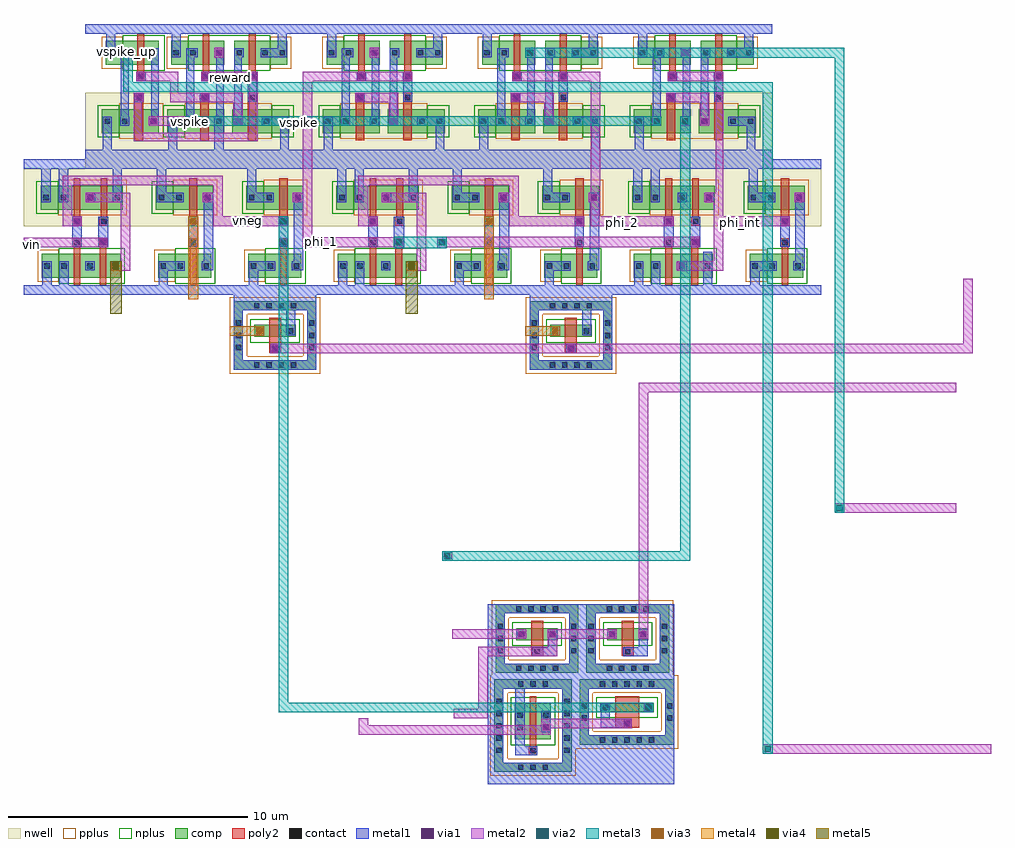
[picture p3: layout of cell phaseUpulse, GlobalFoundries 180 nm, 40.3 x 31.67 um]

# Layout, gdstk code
from math import pi, radians
import gdstk
lib = gdstk.Library(unit=1e-6, precision=1e-09)
def R(c, l, rs):  # rectangles x0, y0, x1, y1
    for r in rs: c.add(gdstk.rectangle(r[:2], r[2:], *l))
def A(c, l, x, y, w, h, nx, ny, dx, dy):  # array of equal rectangles
    R(c, l, [(x+i*dx, y+j*dy, x+i*dx+w, y+j*dy+h) for i in range(nx) for j in range(ny)])
def P(c, l, *ps):  # polygons
    for p in ps: c.add(gdstk.Polygon(p, *l))
nwell = (21, 0)
comp = (22, 0)
poly2 = (30, 0)
pplus = (31, 0)
nplus = (32, 0)
contact = (33, 0)
metal1 = (34, 0)
via1 = (35, 0)
metal2 = (36, 0)
via2 = (38, 0)
via3 = (40, 0)
via4 = (41, 0)
metal3 = (42, 0)
metal4 = (46, 0)
metal5 = (81, 0)

pfet_4_2 = lib.new_cell('pfet$4$2')

pfet_1_1_1 = lib.new_cell('pfet$1$1$1')

via_dev_3_1_1 = lib.new_cell('via_dev$3$1$1')

via_dev_1_1_1 = lib.new_cell('via_dev$1$1$1')

pfet_2_1 = lib.new_cell('pfet$2$1')

nfet_4_1_1 = lib.new_cell('nfet$4$1$1')

nfet_1_2 = lib.new_cell('nfet$1$2')

nor = lib.new_cell('nor')
nor.add(gdstk.Reference(pfet_4_2, (5.155,-2.67)))
nor.add(gdstk.Reference(pfet_1_1_1, (-0.175,-0.79)))
nor.add(gdstk.Reference(via_dev_3_1_1, (-0.94,-1.74)))
nor.add(gdstk.Reference(via_dev_1_1_1, (1.075,-1.48)))
nor.add(gdstk.Reference(pfet_2_1, (0.945,-0.79)))
nor.add(gdstk.Reference(via_dev_1_1_1, (-0.605,-0.49)))
nor.add(gdstk.Reference(nfet_4_1_1, (0.945,-3.25)))
nor.add(gdstk.Reference(via_dev_1_1_1, (-0.005,-1.97)))
nor.add(gdstk.Reference(nfet_1_2, (-0.135,-3.25)))
nor.add(gdstk.Reference(via_dev_1_1_1, (0.535,-2.95)))

nfet_3_1_1 = lib.new_cell('nfet$3$1$1')

pfet_1_2 = lib.new_cell('pfet$1$2')

via_dev_2_2 = lib.new_cell('via_dev$2$2')

nfet_1_1_1 = lib.new_cell('nfet$1$1$1')

nfet_5_1_2 = lib.new_cell('nfet$5$1$2')

ota_1stage = lib.new_cell('ota_1stage')
ota_1stage.add(gdstk.Reference(nfet_3_1_1, (-8.74,-4.02), rotation=pi/2))
ota_1stage.add(gdstk.Reference(pfet_1_2, (-2.26,3.785)))
ota_1stage.add(gdstk.Reference(pfet_1_2, (1.48,3.785)))
ota_1stage.add(gdstk.Reference(via_dev_2_2, (1.05,4.005)))
ota_1stage.add(gdstk.Reference(via_dev_2_2, (-1.57,4.005)))
ota_1stage.add(gdstk.Reference(via_dev_2_2, (-2.13,4.915)))
ota_1stage.add(gdstk.Reference(via_dev_2_2, (1.61,4.915)))
ota_1stage.add(gdstk.Reference(via_dev_2_2, (0.58,0.73)))
ota_1stage.add(gdstk.Reference(via_dev_2_2, (-1.9,0.725)))
ota_1stage.add(gdstk.Reference(nfet_1_1_1, (-2.57,-1.885)))
ota_1stage.add(gdstk.Reference(nfet_1_1_1, (0.99,-1.885)))
ota_1stage.add(gdstk.Reference(via_dev_2_2, (-2.98,-0.29)))
ota_1stage.add(gdstk.Reference(via_dev_2_2, (1.66,-0.29)))
ota_1stage.add(gdstk.Reference(via_dev_2_2, (-2.44,-2.565)))
ota_1stage.add(gdstk.Reference(via_dev_2_2, (1.12,-2.565)))
ota_1stage.add(gdstk.Reference(nfet_5_1_2, (-6.13,1.64)))
ota_1stage.add(gdstk.Reference(via_dev_2_2, (-5.46,1.86)))
ota_1stage.add(gdstk.Reference(via_dev_2_2, (-6,0.96)))
ota_1stage.add(gdstk.Reference(nfet_5_1_2, (-6.13,-1.885)))
ota_1stage.add(gdstk.Reference(via_dev_2_2, (-8.72,4.91), rotation=pi/2))
ota_1stage.add(gdstk.Reference(via_dev_2_2, (-9.12,6.435)))
ota_1stage.add(gdstk.Reference(via_dev_2_2, (-8.72,-4.43), rotation=pi/2))
ota_1stage.add(gdstk.Reference(via_dev_2_2, (-6.54,-1.67)))

pfet_5_2 = lib.new_cell('pfet$5$2')

nfet_6_1_1 = lib.new_cell('nfet$6$1$1')

via_dev_4_2 = lib.new_cell('via_dev$4$2')

via_dev_1_2 = lib.new_cell('via_dev$1$2')

conmutator = lib.new_cell('conmutator')
conmutator.add(gdstk.Reference(pfet_5_2, (-0.175,-0.79)))
conmutator.add(gdstk.Reference(nfet_6_1_1, (-0.14,-3.64)))
conmutator.add(gdstk.Reference(via_dev_4_2, (-0.01,-2.36)))
conmutator.add(gdstk.Reference(via_dev_4_2, (-0.605,-0.49)))
conmutator.add(gdstk.Reference(via_dev_4_2, (-2,-1.48)))
conmutator.add(gdstk.Reference(via_dev_4_2, (-1.93,-2.36)))
conmutator.add(gdstk.Reference(via_dev_4_2, (-1.39,-3.34)))
conmutator.add(gdstk.Reference(via_dev_4_2, (-2.595,-0.49)))
conmutator.add(gdstk.Reference(nfet_6_1_1, (-1.4,-3.64), rotation=pi, x_reflection=True))
conmutator.add(gdstk.Reference(via_dev_1_2, (-3.655,-1.74)))
conmutator.add(gdstk.Reference(via_dev_1_2, (-0.94,-1.74)))
conmutator.add(gdstk.Reference(pfet_5_2, (-1.435,-0.79), rotation=pi, x_reflection=True))
conmutator.add(gdstk.Reference(via_dev_4_2, (-4.72,-1.48)))
conmutator.add(gdstk.Reference(via_dev_4_2, (-4.65,-2.36)))
conmutator.add(gdstk.Reference(via_dev_4_2, (-4.125,-0.49)))
conmutator.add(gdstk.Reference(via_dev_4_2, (-5.19,-3.34)))
conmutator.add(gdstk.Reference(nfet_6_1_1, (-4.12,-3.64), rotation=pi, x_reflection=True))
conmutator.add(gdstk.Reference(via_dev_1_2, (-6.375,-1.74)))
conmutator.add(gdstk.Reference(via_dev_1_2, (-3.66,-1.74)))
conmutator.add(gdstk.Reference(pfet_5_2, (-4.155,-0.79), rotation=pi, x_reflection=True))

via_dev_1_3 = lib.new_cell('via_dev$1$3')

nfet_7_1 = lib.new_cell('nfet$7$1')

pfet_6_2 = lib.new_cell('pfet$6$2')

via_dev_5_1_1 = lib.new_cell('via_dev$5$1$1')

switch = lib.new_cell('switch')
switch.add(gdstk.Reference(via_dev_1_3, (-2,-1.48)))
switch.add(gdstk.Reference(via_dev_1_3, (-0.605,-0.49)))
switch.add(gdstk.Reference(via_dev_1_3, (-1.93,-2.36)))
switch.add(gdstk.Reference(via_dev_1_3, (-0.01,-2.36)))
switch.add(gdstk.Reference(via_dev_1_3, (-1.39,-3.34)))
switch.add(gdstk.Reference(via_dev_1_3, (-2.595,-0.49)))
switch.add(gdstk.Reference(nfet_7_1, (-1.4,-3.64), rotation=pi, x_reflection=True))
switch.add(gdstk.Reference(pfet_6_2, (-1.435,-0.79), rotation=pi, x_reflection=True))
switch.add(gdstk.Reference(via_dev_5_1_1, (-3.655,-1.74)))
switch.add(gdstk.Reference(via_dev_5_1_1, (-0.94,-1.74)))
switch.add(gdstk.Reference(nfet_7_1, (-0.14,-3.64)))
switch.add(gdstk.Reference(pfet_6_2, (-0.175,-0.79)))

via_dev_9_1 = lib.new_cell('via_dev$9$1')

pfet_7_2 = lib.new_cell('pfet$7$2')
R(pfet_7_2, nwell, [(-1.15,-0.69,2.61,1.69)])
R(pfet_7_2, comp, [(-0.46,0,0,1), (0,0,0.73,1), (0.73,0,1.19,1), (1.19,0,1.92,1)])
R(pfet_7_2, poly2, [(0.175,-0.68,0.555,-0.3), (0.19,-0.3,0.54,1.3)])
R(pfet_7_2, pplus, [(-0.63,-0.24,1.19,1.24)])
R(pfet_7_2, nplus, [(1.19,-0.17,2.09,1.17)])
R(pfet_7_2, contact, [(0.255,-0.6,0.475,-0.38), (-0.34,0.39,-0.12,0.61), (0.85,0.39,1.07,0.61), (1.58,0.39,1.8,0.61)])
R(pfet_7_2, metal1, [(0.175,-0.68,0.555,-0.3), (-0.42,0.31,-0.04,0.69), (0.77,0.31,1.15,0.69), (1.5,0.31,1.88,0.69)])

nfet_8_1 = lib.new_cell('nfet$8$1')
R(nfet_8_1, comp, [(-0.42,0,0,1), (0,0,0.66,1), (0.66,0,1.08,1), (1.08,0,1.79,1)])
R(nfet_8_1, poly2, [(0.19,-0.3,0.47,1.3), (0.15,1.3,0.51,1.66)])
R(nfet_8_1, pplus, [(1.08,-0.17,1.96,1.17)])
R(nfet_8_1, nplus, [(-0.59,-0.24,1.08,1.24)])
R(nfet_8_1, contact, [(-0.32,0.39,-0.1,0.61), (0.76,0.39,0.98,0.61), (1.47,0.39,1.69,0.61), (0.22,1.37,0.44,1.59)])
R(nfet_8_1, metal1, [(-0.4,0.31,-0.02,0.69), (0.68,0.31,1.06,0.69), (1.39,0.31,1.77,0.69), (0.14,1.29,0.52,1.67)])

via_dev_19_1 = lib.new_cell('via_dev$19$1')

via_dev_1_4 = lib.new_cell('via_dev$1$4')
R(via_dev_1_4, metal1, [(0,0,0.4,0.4)])
R(via_dev_1_4, via1, [(0.07,0.07,0.33,0.33)])
R(via_dev_1_4, metal2, [(0,0,0.4,0.4)])

not_ = lib.new_cell('not')
R(not_, metal1, [(-0.64,-3.33,-0.24,-0.1), (0,-1.97,0.38,-1.47)])
P(not_, metal1, [(0.595,-0.49),(0.595,-0.09),(1.325,-0.09),(1.325,0.9),(-1.325,0.9),(-1.325,1.3),(2.435,1.3),(2.435,0.9),(1.705,0.9),(1.705,-0.49)],
  [(-1.325,-4.34),(-1.325,-3.94),(1.25,-3.94),(1.25,-3.34),(0.54,-3.34),(0.54,-2.94),(1.63,-2.94),(1.63,-3.94),(2.435,-3.94),(2.435,-4.34)])
not_.add(gdstk.Reference(pfet_7_2, (-0.175,-0.79)))
not_.add(gdstk.Reference(nfet_8_1, (-0.14,-3.64)))
not_.add(gdstk.Reference(via_dev_19_1, (-0.94,-1.74)))
not_.add(gdstk.Reference(via_dev_1_4, (-0.605,-0.49)))
not_.add(gdstk.Reference(via_dev_1_4, (-0.01,-1.48)))
not_.add(gdstk.Label('out', (0.2,-2.205), layer=34, texttype=10))
not_.add(gdstk.Label('vss', (0.305,-4.175), layer=34, texttype=10))
not_.add(gdstk.Label('vdd', (0.18,1.1), layer=34, texttype=10))
not_.add(gdstk.Label('in', (0.18,-1.285), layer=36, texttype=10))
not_.add(gdstk.Label('out', (-0.4,-0.3), layer=36, texttype=10))

pfet_12_1 = lib.new_cell('pfet$12$1')

pfet_1_8 = lib.new_cell('pfet$1$8')
R(pfet_1_8, nwell, [(-0.9,-0.44,1.56,1.44)])
R(pfet_1_8, comp, [(-0.46,0,0,1), (0,0,0.66,1), (0.66,0,1.12,1)])
R(pfet_1_8, poly2, [(0.14,-0.68,0.52,-0.3), (0.19,-0.3,0.47,1.3)])
R(pfet_1_8, pplus, [(-0.63,-0.24,1.29,1.24)])
R(pfet_1_8, contact, [(0.22,-0.6,0.44,-0.38), (-0.34,0.39,-0.12,0.61), (0.78,0.39,1,0.61)])
R(pfet_1_8, metal1, [(0.14,-0.68,0.52,-0.3), (-0.42,0.31,-0.04,0.69), (0.7,0.31,1.08,0.69)])

via_dev_17_1 = lib.new_cell('via_dev$17$1')

via_dev_1_5 = lib.new_cell('via_dev$1$5')
R(via_dev_1_5, metal1, [(0,0,0.4,0.4)])
R(via_dev_1_5, via1, [(0.07,0.07,0.33,0.33)])
R(via_dev_1_5, metal2, [(0,0,0.4,0.4)])

pfet_2_7 = lib.new_cell('pfet$2$7')
R(pfet_2_7, nwell, [(-1.15,-0.69,2.54,1.69)])
R(pfet_2_7, comp, [(-0.46,0,0,1), (0,0,0.66,1), (0.66,0,1.12,1), (1.12,0,1.85,1)])
R(pfet_2_7, poly2, [(0.14,-0.68,0.52,-0.3), (0.19,-0.3,0.47,1.3)])
R(pfet_2_7, pplus, [(-0.63,-0.24,1.12,1.24)])
R(pfet_2_7, nplus, [(1.12,-0.17,2.02,1.17)])
R(pfet_2_7, contact, [(0.22,-0.6,0.44,-0.38), (-0.34,0.39,-0.12,0.61), (0.78,0.39,1,0.61), (1.51,0.39,1.73,0.61)])
R(pfet_2_7, metal1, [(0.14,-0.68,0.52,-0.3), (-0.42,0.31,-0.04,0.69), (0.7,0.31,1.08,0.69), (1.43,0.31,1.81,0.69)])

nfet_10_1 = lib.new_cell('nfet$10$1')
R(nfet_10_1, comp, [(-0.42,0,0,1), (0,0,0.66,1), (0.66,0,1.08,1), (1.08,0,1.79,1)])
R(nfet_10_1, poly2, [(0.19,-0.3,0.47,1.3), (0.15,1.3,0.51,1.66)])
R(nfet_10_1, pplus, [(1.08,-0.17,1.96,1.17)])
R(nfet_10_1, nplus, [(-0.59,-0.24,1.08,1.24)])
R(nfet_10_1, contact, [(-0.32,0.39,-0.1,0.61), (0.76,0.39,0.98,0.61), (1.47,0.39,1.69,0.61), (0.22,1.37,0.44,1.59)])
R(nfet_10_1, metal1, [(-0.4,0.31,-0.02,0.69), (0.68,0.31,1.06,0.69), (1.39,0.31,1.77,0.69), (0.14,1.29,0.52,1.67)])

nfet_1_3 = lib.new_cell('nfet$1$3')
R(nfet_1_3, comp, [(-0.42,0,0,1), (0,0,0.66,1), (0.66,0,1.08,1)])
R(nfet_1_3, poly2, [(0.19,-0.3,0.47,1.3), (0.15,1.3,0.51,1.66)])
R(nfet_1_3, nplus, [(-0.59,-0.24,1.25,1.24)])
R(nfet_1_3, contact, [(-0.32,0.39,-0.1,0.61), (0.76,0.39,0.98,0.61), (0.22,1.37,0.44,1.59)])
R(nfet_1_3, metal1, [(-0.4,0.31,-0.02,0.69), (0.68,0.31,1.06,0.69), (0.14,1.29,0.52,1.67)])

nor_2 = lib.new_cell('nor$2')
R(nor_2, nwell, [(-1.325,-1.48,-0.205,0.9)])
R(nor_2, metal1, [(-1.325,-4.34,3.485,-3.94), (-0.535,-3.94,-0.155,-2.56), (1.625,-3.94,2.005,-2.95), (2.335,-3.94,2.715,-2.95), (-0.035,-2.36,0.395,-1.09), (1.075,-2.35,1.475,-1.08), (1.645,-0.475,2.025,0.9), (2.375,-0.475,2.755,0.9), (-1.325,0.9,3.485,1.3)])
R(nor_2, metal2, [(-1.005,-3.34,0.535,-2.94)])
nor_2.add(gdstk.FlexPath([(-0.805,-3.115),(-0.805,-0.09)], 0.4, ends="flush", simple_path=True, layer=36, datatype=0))  # metal2
nor_2.add(gdstk.Reference(pfet_12_1, (5.155,-2.67)))
nor_2.add(gdstk.Reference(pfet_1_8, (-0.175,-0.79)))
nor_2.add(gdstk.Reference(via_dev_17_1, (-0.94,-1.74)))
nor_2.add(gdstk.Reference(via_dev_1_5, (1.075,-1.48)))
nor_2.add(gdstk.Reference(pfet_2_7, (0.945,-0.79)))
nor_2.add(gdstk.Reference(via_dev_1_5, (-0.605,-0.49)))
nor_2.add(gdstk.Reference(nfet_10_1, (0.945,-3.64)))
nor_2.add(gdstk.Reference(via_dev_1_5, (-0.005,-2.36)))
nor_2.add(gdstk.Reference(nfet_1_3, (-0.135,-3.64)))
nor_2.add(gdstk.Reference(via_dev_1_5, (0.535,-3.34)))
nor_2.add(gdstk.Label('vss', (1.02,-4.185), layer=34, texttype=10))
nor_2.add(gdstk.Label('vdd', (0.94,1.07), layer=34, texttype=10))
nor_2.add(gdstk.Label('A', (1.3,-1.3), layer=36, texttype=10))
nor_2.add(gdstk.Label('B', (0.2,-1.775), layer=36, texttype=10))
nor_2.add(gdstk.Label('Z', (-0.405,-0.265), layer=36, texttype=10))

via_dev_14 = lib.new_cell('via_dev$14')
R(via_dev_14, metal1, [(0,0,0.4,0.4)])
R(via_dev_14, via1, [(0.07,0.07,0.33,0.33)])
R(via_dev_14, metal2, [(0,0,0.4,0.4)])

via_dev_12_1 = lib.new_cell('via_dev$12$1')
R(via_dev_12_1, metal1, [(0,0,0.4,0.4)])
R(via_dev_12_1, via1, [(0.07,0.07,0.33,0.33)])
R(via_dev_12_1, metal2, [(0,0,0.4,0.4)])
R(via_dev_12_1, via2, [(0.07,0.07,0.33,0.33)])
R(via_dev_12_1, via3, [(0.07,0.07,0.33,0.33)])
R(via_dev_12_1, metal3, [(0,0,0.4,0.4)])
R(via_dev_12_1, metal4, [(0,0,0.4,0.4)])

via_dev_13_1 = lib.new_cell('via_dev$13$1')
R(via_dev_13_1, metal2, [(0,0,0.4,0.4)])
R(via_dev_13_1, via2, [(0.07,0.07,0.33,0.33)])
R(via_dev_13_1, via3, [(0.07,0.07,0.33,0.33)])
R(via_dev_13_1, metal3, [(0,0,0.4,0.4)])
R(via_dev_13_1, metal4, [(0,0,0.4,0.4)])

via_dev_11_1 = lib.new_cell('via_dev$11$1')
R(via_dev_11_1, metal2, [(0,0,0.4,0.4)])
R(via_dev_11_1, via2, [(0.07,0.07,0.33,0.33)])
R(via_dev_11_1, via3, [(0.07,0.07,0.33,0.33)])
R(via_dev_11_1, via4, [(0.07,0.07,0.33,0.33)])
R(via_dev_11_1, metal3, [(0,0,0.4,0.4)])
R(via_dev_11_1, metal4, [(0,0,0.4,0.4)])
R(via_dev_11_1, metal5, [(0,0,0.4,0.4)])

nfet_8_1_1 = lib.new_cell('nfet$8$1$1')
R(nfet_8_1_1, comp, [(-0.42,0,0,0.5), (0,0,0.88,0.5), (0.88,0,1.3,0.5)])
P(nfet_8_1_1, comp, [(-1.28,-1.36),(-1.28,1.11),(-0.9,1.11),(-0.9,-0.98),(1.78,-0.98),(1.78,1.11),(-1.28,1.11),(-1.28,1.49),(2.16,1.49),(2.16,-1.36)])
R(nfet_8_1_1, poly2, [(0.19,-0.66,0.69,-0.3), (0.19,-0.3,0.69,0.8)])
P(nfet_8_1_1, pplus, [(-1.45,-1.53),(-1.45,0.94),(-0.73,0.94),(-0.73,-0.81),(1.61,-0.81),(1.61,0.94),(-1.45,0.94),(-1.45,1.66),(2.33,1.66),(2.33,-1.53)])
R(nfet_8_1_1, nplus, [(-0.59,-0.24,1.47,0.74)])
A(nfet_8_1_1, contact, -0.435, -1.28, 0.22, 0.22, 4, 2, 0.51, 2.47)
A(nfet_8_1_1, contact, -1.2, -0.555, 0.22, 0.22, 1, 3, 0, 0.51)
A(nfet_8_1_1, contact, 1.86, -0.555, 0.22, 0.22, 1, 3, 0, 0.51)
R(nfet_8_1_1, contact, [(0.33,-0.59,0.55,-0.37), (-0.32,0.14,-0.1,0.36), (0.98,0.14,1.2,0.36)])
R(nfet_8_1_1, metal1, [(0.25,-0.67,0.63,-0.29), (-0.4,0.06,-0.02,0.44), (0.9,0.06,1.28,0.44)])

pfet_2_6 = lib.new_cell('pfet$2$6')

pfet_11_1 = lib.new_cell('pfet$11$1')
R(pfet_11_1, nwell, [(-0.9,-0.44,1.56,1.44)])
R(pfet_11_1, comp, [(-0.46,0,0,1), (0,0,0.66,1), (0.66,0,1.12,1)])
R(pfet_11_1, poly2, [(0.14,-0.68,0.52,-0.3), (0.19,-0.3,0.47,1.3)])
R(pfet_11_1, pplus, [(-0.63,-0.24,1.29,1.24)])
R(pfet_11_1, contact, [(0.22,-0.6,0.44,-0.38), (-0.34,0.39,-0.12,0.61), (0.78,0.39,1,0.61)])
R(pfet_11_1, metal1, [(0.14,-0.68,0.52,-0.3), (-0.42,0.31,-0.04,0.69), (0.7,0.31,1.08,0.69)])

via_dev_16 = lib.new_cell('via_dev$16')

pfet_1_7 = lib.new_cell('pfet$1$7')
R(pfet_1_7, nwell, [(-1.15,-0.69,2.54,1.69)])
R(pfet_1_7, comp, [(-0.46,0,0,1), (0,0,0.66,1), (0.66,0,1.12,1), (1.12,0,1.85,1)])
R(pfet_1_7, poly2, [(0.14,-0.68,0.52,-0.3), (0.19,-0.3,0.47,1.3)])
R(pfet_1_7, pplus, [(-0.63,-0.24,1.12,1.24)])
R(pfet_1_7, nplus, [(1.12,-0.17,2.02,1.17)])
R(pfet_1_7, contact, [(0.22,-0.6,0.44,-0.38), (-0.34,0.39,-0.12,0.61), (0.78,0.39,1,0.61), (1.51,0.39,1.73,0.61)])
R(pfet_1_7, metal1, [(0.14,-0.68,0.52,-0.3), (-0.42,0.31,-0.04,0.69), (0.7,0.31,1.08,0.69), (1.43,0.31,1.81,0.69)])

via_dev_2_6 = lib.new_cell('via_dev$2$6')
R(via_dev_2_6, metal1, [(0,0,0.4,0.4)])
R(via_dev_2_6, via1, [(0.07,0.07,0.33,0.33)])
R(via_dev_2_6, metal2, [(0,0,0.4,0.4)])

nfet_2_4 = lib.new_cell('nfet$2$4')
R(nfet_2_4, comp, [(-0.42,0,0,1), (0,0,0.66,1), (0.66,0,1.08,1), (1.08,0,1.79,1)])
R(nfet_2_4, poly2, [(0.19,-0.3,0.47,1.3), (0.15,1.3,0.51,1.66)])
R(nfet_2_4, pplus, [(1.08,-0.17,1.96,1.17)])
R(nfet_2_4, nplus, [(-0.59,-0.24,1.08,1.24)])
R(nfet_2_4, contact, [(-0.32,0.39,-0.1,0.61), (0.76,0.39,0.98,0.61), (1.47,0.39,1.69,0.61), (0.22,1.37,0.44,1.59)])
R(nfet_2_4, metal1, [(-0.4,0.31,-0.02,0.69), (0.68,0.31,1.06,0.69), (1.39,0.31,1.77,0.69), (0.14,1.29,0.52,1.67)])

nfet_3_5 = lib.new_cell('nfet$3$5')
R(nfet_3_5, comp, [(-0.42,0,0,1), (0,0,0.66,1), (0.66,0,1.08,1)])
R(nfet_3_5, poly2, [(0.19,-0.3,0.47,1.3), (0.15,1.3,0.51,1.66)])
R(nfet_3_5, nplus, [(-0.59,-0.24,1.25,1.24)])
R(nfet_3_5, contact, [(-0.32,0.39,-0.1,0.61), (0.76,0.39,0.98,0.61), (0.22,1.37,0.44,1.59)])
R(nfet_3_5, metal1, [(-0.4,0.31,-0.02,0.69), (0.68,0.31,1.06,0.69), (0.14,1.29,0.52,1.67)])

nand_4 = lib.new_cell('nand$4')
R(nand_4, nwell, [(-1.325,-1.48,-0.205,0.9)])
R(nand_4, metal1, [(-1.325,-4.34,3.485,-3.94), (1.625,-3.94,2.005,-2.95), (2.335,-3.94,2.715,-2.95), (-0.035,-2.36,0.395,-1.09), (1.075,-2.35,1.475,-1.08), (-0.595,-0.475,-0.215,0.9), (1.645,-0.475,2.025,0.9), (2.375,-0.475,2.755,0.9), (-1.325,0.9,3.485,1.3)])
nand_4.add(gdstk.FlexPath([(-0.745,-3.34),(-0.745,-0.29),(0.535,-0.29)], 0.4, ends="flush", simple_path=True, layer=36, datatype=0))  # metal2
nand_4.add(gdstk.Reference(pfet_2_6, (5.155,-2.67)))
nand_4.add(gdstk.Reference(pfet_11_1, (-0.175,-0.79)))
nand_4.add(gdstk.Reference(via_dev_16, (-0.94,-1.74)))
nand_4.add(gdstk.Reference(pfet_1_7, (0.945,-0.79)))
nand_4.add(gdstk.Reference(via_dev_2_6, (0.515,-0.49)))
nand_4.add(gdstk.Reference(via_dev_2_6, (-0.545,-3.34)))
nand_4.add(gdstk.Reference(nfet_2_4, (0.945,-3.64)))
nand_4.add(gdstk.Reference(via_dev_2_6, (-0.005,-2.36)))
nand_4.add(gdstk.Reference(nfet_3_5, (-0.135,-3.64)))
nand_4.add(gdstk.Reference(via_dev_2_6, (1.075,-1.48)))
nand_4.add(gdstk.Label('vss', (1.02,-4.185), layer=34, texttype=10))
nand_4.add(gdstk.Label('vdd', (0.94,1.07), layer=34, texttype=10))
nand_4.add(gdstk.Label('Z', (-0.335,-3.16), layer=36, texttype=10))
nand_4.add(gdstk.Label('A', (0.2,-2.19), layer=36, texttype=10))
nand_4.add(gdstk.Label('B', (1.3,-1.3), layer=36, texttype=10))

via_dev_19_1_1 = lib.new_cell('via_dev$19$1$1')
R(via_dev_19_1_1, metal1, [(0,0,0.4,0.48)])
R(via_dev_19_1_1, via1, [(0.07,0.11,0.33,0.37)])
R(via_dev_19_1_1, metal2, [(0,0,0.4,0.48)])
R(via_dev_19_1_1, via2, [(0.07,0.11,0.33,0.37)])
R(via_dev_19_1_1, metal3, [(0,0,0.4,0.48)])

pfet_13_1 = lib.new_cell('pfet$13$1')
R(pfet_13_1, nwell, [(-1.15,-0.69,2.61,1.69)])
R(pfet_13_1, comp, [(-0.46,0,0,1), (0,0,0.73,1), (0.73,0,1.19,1), (1.19,0,1.92,1)])
R(pfet_13_1, poly2, [(0.175,-0.68,0.555,-0.3), (0.19,-0.3,0.54,1.3)])
R(pfet_13_1, pplus, [(-0.63,-0.24,1.19,1.24)])
R(pfet_13_1, nplus, [(1.19,-0.17,2.09,1.17)])
R(pfet_13_1, contact, [(0.255,-0.6,0.475,-0.38), (-0.34,0.39,-0.12,0.61), (0.85,0.39,1.07,0.61), (1.58,0.39,1.8,0.61)])
R(pfet_13_1, metal1, [(0.175,-0.68,0.555,-0.3), (-0.42,0.31,-0.04,0.69), (0.77,0.31,1.15,0.69), (1.5,0.31,1.88,0.69)])

nfet_11_1 = lib.new_cell('nfet$11$1')
R(nfet_11_1, comp, [(-0.42,0,0,1), (0,0,0.66,1), (0.66,0,1.08,1), (1.08,0,1.79,1)])
R(nfet_11_1, poly2, [(0.19,-0.3,0.47,1.3), (0.15,1.3,0.51,1.66)])
R(nfet_11_1, pplus, [(1.08,-0.17,1.96,1.17)])
R(nfet_11_1, nplus, [(-0.59,-0.24,1.08,1.24)])
R(nfet_11_1, contact, [(-0.32,0.39,-0.1,0.61), (0.76,0.39,0.98,0.61), (1.47,0.39,1.69,0.61), (0.22,1.37,0.44,1.59)])
R(nfet_11_1, metal1, [(-0.4,0.31,-0.02,0.69), (0.68,0.31,1.06,0.69), (1.39,0.31,1.77,0.69), (0.14,1.29,0.52,1.67)])

via_dev_18_1 = lib.new_cell('via_dev$18$1')

via_dev_1_6 = lib.new_cell('via_dev$1$6')
R(via_dev_1_6, metal1, [(0,0,0.4,0.4)])
R(via_dev_1_6, via1, [(0.07,0.07,0.33,0.33)])
R(via_dev_1_6, metal2, [(0,0,0.4,0.4)])

not_1 = lib.new_cell('not$1')
R(not_1, metal1, [(-0.64,-3.33,-0.24,-0.1), (0,-1.97,0.38,-1.47)])
P(not_1, metal1, [(0.595,-0.49),(0.595,-0.09),(1.325,-0.09),(1.325,0.9),(-1.325,0.9),(-1.325,1.3),(2.435,1.3),(2.435,0.9),(1.705,0.9),(1.705,-0.49)],
  [(-1.325,-4.34),(-1.325,-3.94),(1.25,-3.94),(1.25,-3.34),(0.54,-3.34),(0.54,-2.94),(1.63,-2.94),(1.63,-3.94),(2.435,-3.94),(2.435,-4.34)])
not_1.add(gdstk.Reference(pfet_13_1, (-0.175,-0.79)))
not_1.add(gdstk.Reference(nfet_11_1, (-0.14,-3.64)))
not_1.add(gdstk.Reference(via_dev_18_1, (-0.94,-1.74)))
not_1.add(gdstk.Reference(via_dev_1_6, (-0.605,-0.49)))
not_1.add(gdstk.Reference(via_dev_1_6, (-0.01,-1.48)))
not_1.add(gdstk.Label('vss', (0.305,-4.175), layer=34, texttype=10))
not_1.add(gdstk.Label('vdd', (0.18,1.1), layer=34, texttype=10))
not_1.add(gdstk.Label('in', (0.18,-1.285), layer=36, texttype=10))
not_1.add(gdstk.Label('out', (-0.4,-0.3), layer=36, texttype=10))

pfet_14 = lib.new_cell('pfet$14')
R(pfet_14, nwell, [(-1.15,-0.69,2.61,1.69)])
R(pfet_14, comp, [(-0.46,0,0,1), (0,0,0.73,1), (0.73,0,1.19,1), (1.19,0,1.92,1)])
R(pfet_14, poly2, [(0.175,-0.68,0.555,-0.3), (0.19,-0.3,0.54,1.3)])
R(pfet_14, pplus, [(-0.63,-0.24,1.19,1.24)])
R(pfet_14, nplus, [(1.19,-0.17,2.09,1.17)])
R(pfet_14, contact, [(0.255,-0.6,0.475,-0.38), (-0.34,0.39,-0.12,0.61), (0.85,0.39,1.07,0.61), (1.58,0.39,1.8,0.61)])
R(pfet_14, metal1, [(0.175,-0.68,0.555,-0.3), (-0.42,0.31,-0.04,0.69), (0.77,0.31,1.15,0.69), (1.5,0.31,1.88,0.69)])

nfet_12_1 = lib.new_cell('nfet$12$1')
R(nfet_12_1, comp, [(-0.42,0,0,1), (0,0,0.66,1), (0.66,0,1.08,1), (1.08,0,1.79,1)])
R(nfet_12_1, poly2, [(0.19,-0.3,0.47,1.3), (0.15,1.3,0.51,1.66)])
R(nfet_12_1, pplus, [(1.08,-0.17,1.96,1.17)])
R(nfet_12_1, nplus, [(-0.59,-0.24,1.08,1.24)])
R(nfet_12_1, contact, [(-0.32,0.39,-0.1,0.61), (0.76,0.39,0.98,0.61), (1.47,0.39,1.69,0.61), (0.22,1.37,0.44,1.59)])
R(nfet_12_1, metal1, [(-0.4,0.31,-0.02,0.69), (0.68,0.31,1.06,0.69), (1.39,0.31,1.77,0.69), (0.14,1.29,0.52,1.67)])

via_dev_20_1 = lib.new_cell('via_dev$20$1')
R(via_dev_20_1, metal1, [(0,0,0.4,0.4)])
R(via_dev_20_1, via1, [(0.07,0.07,0.33,0.33)])
R(via_dev_20_1, metal2, [(0,0,0.4,0.4)])

via_dev_1_7 = lib.new_cell('via_dev$1$7')

conmutator_1 = lib.new_cell('conmutator$1')
R(conmutator_1, nplus, [(-3.53,-3.88,-3.45,-2.4), (-0.81,-3.88,-0.73,-2.4)])
R(conmutator_1, metal1, [(-6.765,-4.34,2.43,-3.94), (-5.89,-4.14,-5.51,-2.95), (-3.17,-4.14,-2.79,-2.95), (1.25,-3.94,1.63,-2.95), (-5.28,-3.33,-4.95,-0.415), (-4.02,-3.33,-3.705,-0.1), (-2.56,-3.33,-2.23,-0.415), (-1.3,-3.33,-0.985,-0.1), (-0.555,-3.33,-0.24,-0.405), (0.54,-3.33,1.63,-2.95), (0,-1.97,0.38,-1.47), (0.595,-0.48,1.705,-0.1), (1.355,-0.48,1.705,0.9), (-6.035,-0.1,-5.655,0.9), (-3.315,-0.1,-2.935,0.9), (-6.765,0.9,2.435,1.3)])
R(conmutator_1, metal2, [(-4.25,-2.36,-3.04,-1.96), (-3.215,-2.36,-2.9,-1.08), (-1.61,-2.36,0.03,-1.96), (0.075,-2.36,0.43,0.21), (-4.745,-1.48,-4.405,0.51), (-3.215,-1.48,-2,-1.08), (-1.655,-1.48,-0.205,-1.08), (-0.605,-1.08,-0.205,-0.09), (-3.73,-0.49,-2.59,-0.09), (-4.745,0.19,0.43,0.54)])
conmutator_1.add(gdstk.Reference(pfet_14, (-0.175,-0.79)))
conmutator_1.add(gdstk.Reference(nfet_12_1, (-0.14,-3.64)))
conmutator_1.add(gdstk.Reference(via_dev_20_1, (-0.01,-2.36)))
conmutator_1.add(gdstk.Reference(via_dev_20_1, (-0.605,-0.49)))
conmutator_1.add(gdstk.Reference(via_dev_20_1, (-2,-1.48)))
conmutator_1.add(gdstk.Reference(via_dev_20_1, (-1.93,-2.36)))
conmutator_1.add(gdstk.Reference(via_dev_20_1, (-1.39,-3.34)))
conmutator_1.add(gdstk.Reference(via_dev_20_1, (-2.595,-0.49)))
conmutator_1.add(gdstk.Reference(nfet_12_1, (-1.4,-3.64), rotation=pi, x_reflection=True))
conmutator_1.add(gdstk.Reference(via_dev_1_7, (-3.655,-1.74)))
conmutator_1.add(gdstk.Reference(via_dev_1_7, (-0.94,-1.74)))
conmutator_1.add(gdstk.Reference(pfet_14, (-1.435,-0.79), rotation=pi, x_reflection=True))
conmutator_1.add(gdstk.Reference(via_dev_20_1, (-4.72,-1.48)))
conmutator_1.add(gdstk.Reference(via_dev_20_1, (-4.65,-2.36)))
conmutator_1.add(gdstk.Reference(via_dev_20_1, (-4.125,-0.49)))
conmutator_1.add(gdstk.Reference(via_dev_20_1, (-5.19,-3.34)))
conmutator_1.add(gdstk.Reference(nfet_12_1, (-4.12,-3.64), rotation=pi, x_reflection=True))
conmutator_1.add(gdstk.Reference(via_dev_1_7, (-6.375,-1.74)))
conmutator_1.add(gdstk.Reference(via_dev_1_7, (-3.66,-1.74)))
conmutator_1.add(gdstk.Reference(pfet_14, (-4.155,-0.79), rotation=pi, x_reflection=True))
conmutator_1.add(gdstk.Label('vdd', (-3.665,1.08), layer=34, texttype=10))
conmutator_1.add(gdstk.Label('vss', (-3.575,-4.165), layer=34, texttype=10))
conmutator_1.add(gdstk.Label('cntrl', (0.22,-2.14), layer=36, texttype=10))
conmutator_1.add(gdstk.Label('out', (-3.895,-0.265), layer=36, texttype=10))
conmutator_1.add(gdstk.Label('in2', (-1.195,-3.105), layer=36, texttype=10))
conmutator_1.add(gdstk.Label('in1', (-5.005,-3.12), layer=36, texttype=10))

via_dev_1_8 = lib.new_cell('via_dev$1$8')
R(via_dev_1_8, metal1, [(0,0,0.4,0.4)])
R(via_dev_1_8, via1, [(0.07,0.07,0.33,0.33)])
R(via_dev_1_8, metal2, [(0,0,0.4,0.4)])

nfet_13_1 = lib.new_cell('nfet$13$1')
R(nfet_13_1, comp, [(-0.42,0,0,1), (0,0,0.66,1), (0.66,0,1.08,1), (1.08,0,1.79,1)])
R(nfet_13_1, poly2, [(0.19,-0.3,0.47,1.3), (0.15,1.3,0.51,1.66)])
R(nfet_13_1, pplus, [(1.08,-0.17,1.96,1.17)])
R(nfet_13_1, nplus, [(-0.59,-0.24,1.08,1.24)])
R(nfet_13_1, contact, [(-0.32,0.39,-0.1,0.61), (0.76,0.39,0.98,0.61), (1.47,0.39,1.69,0.61), (0.22,1.37,0.44,1.59)])
R(nfet_13_1, metal1, [(-0.4,0.31,-0.02,0.69), (0.68,0.31,1.06,0.69), (1.39,0.31,1.77,0.69), (0.14,1.29,0.52,1.67)])

pfet_15 = lib.new_cell('pfet$15')
R(pfet_15, nwell, [(-1.15,-0.69,2.61,1.69)])
R(pfet_15, comp, [(-0.46,0,0,1), (0,0,0.73,1), (0.73,0,1.19,1), (1.19,0,1.92,1)])
R(pfet_15, poly2, [(0.175,-0.68,0.555,-0.3), (0.19,-0.3,0.54,1.3)])
R(pfet_15, pplus, [(-0.63,-0.24,1.19,1.24)])
R(pfet_15, nplus, [(1.19,-0.17,2.09,1.17)])
R(pfet_15, contact, [(0.255,-0.6,0.475,-0.38), (-0.34,0.39,-0.12,0.61), (0.85,0.39,1.07,0.61), (1.58,0.39,1.8,0.61)])
R(pfet_15, metal1, [(0.175,-0.68,0.555,-0.3), (-0.42,0.31,-0.04,0.69), (0.77,0.31,1.15,0.69), (1.5,0.31,1.88,0.69)])

via_dev_21_1 = lib.new_cell('via_dev$21$1')

switch_1 = lib.new_cell('switch$1')
R(switch_1, nplus, [(-0.81,-3.88,-0.73,-2.4)])
R(switch_1, metal1, [(-4.04,-4.34,2.43,-3.94), (-3.17,-4.14,-2.79,-2.95), (1.25,-3.94,1.63,-2.95), (-2.56,-3.33,-2.23,-0.415), (-1.3,-3.33,-0.985,-0.1), (-0.555,-3.33,-0.24,-0.405), (0.54,-3.33,1.63,-2.95), (0,-1.97,0.38,-1.47), (0.595,-0.48,1.705,-0.1), (1.355,-0.48,1.705,0.9), (-3.315,-0.1,-2.935,0.9), (-4.045,0.9,2.435,1.3)])
R(switch_1, metal2, [(-1.61,-2.36,0.03,-1.96), (-1.655,-1.48,-0.205,-1.08), (-0.605,-1.08,-0.205,-0.09)])
switch_1.add(gdstk.Reference(via_dev_1_8, (-2,-1.48)))
switch_1.add(gdstk.Reference(via_dev_1_8, (-0.605,-0.49)))
switch_1.add(gdstk.Reference(via_dev_1_8, (-1.93,-2.36)))
switch_1.add(gdstk.Reference(via_dev_1_8, (-0.01,-2.36)))
switch_1.add(gdstk.Reference(via_dev_1_8, (-1.39,-3.34)))
switch_1.add(gdstk.Reference(via_dev_1_8, (-2.595,-0.49)))
switch_1.add(gdstk.Reference(nfet_13_1, (-1.4,-3.64), rotation=pi, x_reflection=True))
switch_1.add(gdstk.Reference(pfet_15, (-1.435,-0.79), rotation=pi, x_reflection=True))
switch_1.add(gdstk.Reference(via_dev_21_1, (-3.655,-1.74)))
switch_1.add(gdstk.Reference(via_dev_21_1, (-0.94,-1.74)))
switch_1.add(gdstk.Reference(nfet_13_1, (-0.14,-3.64)))
switch_1.add(gdstk.Reference(pfet_15, (-0.175,-0.79)))
switch_1.add(gdstk.Label('vdd', (-0.945,1.08), layer=34, texttype=10))
switch_1.add(gdstk.Label('vss', (-0.855,-4.165), layer=34, texttype=10))
switch_1.add(gdstk.Label('out', (-2.39,-0.31), layer=36, texttype=10))
switch_1.add(gdstk.Label('in', (-1.165,-3.18), layer=36, texttype=10))
switch_1.add(gdstk.Label('cntrl', (0.185,-2.185), layer=36, texttype=10))

via_dev_22_1 = lib.new_cell('via_dev$22$1')
R(via_dev_22_1, metal2, [(0,0,0.4,0.4)])
R(via_dev_22_1, via2, [(0.07,0.07,0.33,0.33)])
R(via_dev_22_1, metal3, [(0,0,0.4,0.4)])

nfet_15_1 = lib.new_cell('nfet$15$1')
R(nfet_15_1, comp, [(-0.42,-0.01,0,0.37), (1.38,-0.01,1.8,0.37), (0,0,1.38,0.36)])
P(nfet_15_1, comp, [(-1.28,-1.36),(-1.28,0.97),(-0.9,0.97),(-0.9,-0.98),(2.28,-0.98),(2.28,0.97),(-1.28,0.97),(-1.28,1.35),(2.66,1.35),(2.66,-1.36)])
R(nfet_15_1, poly2, [(0.19,-0.66,1.19,-0.3), (0.19,-0.3,1.19,0.66)])
P(nfet_15_1, pplus, [(-1.45,-1.53),(-1.45,0.8),(-0.73,0.8),(-0.73,-0.81),(2.11,-0.81),(2.11,0.8),(-1.45,0.8),(-1.45,1.52),(2.83,1.52),(2.83,-1.53)])
R(nfet_15_1, nplus, [(-0.59,-0.25,1.97,0.61)])
A(nfet_15_1, contact, -0.44, -1.28, 0.22, 0.22, 5, 2, 0.51, 2.33)
R(nfet_15_1, contact, [(0.58,-0.59,0.8,-0.37), (-1.2,-0.37,-0.98,-0.15), (2.36,-0.37,2.58,-0.15), (-0.32,0.07,-0.1,0.29), (1.48,0.07,1.7,0.29), (-1.2,0.14,-0.98,0.36), (2.36,0.14,2.58,0.36)])
R(nfet_15_1, metal1, [(0.5,-0.67,0.88,-0.29), (-0.4,-0.01,-0.02,0.37), (1.4,-0.01,1.78,0.37)])

nfet_16_1 = lib.new_cell('nfet$16$1')
R(nfet_16_1, comp, [(-0.42,0,0,1.5), (0,0,0.66,1.5), (0.66,0,1.08,1.5)])
P(nfet_16_1, comp, [(-1.28,-1.36),(-1.28,2.11),(-0.9,2.11),(-0.9,-0.98),(1.56,-0.98),(1.56,2.11),(-1.28,2.11),(-1.28,2.49),(1.94,2.49),(1.94,-1.36)])
R(nfet_16_1, poly2, [(0.15,-0.66,0.51,-0.3), (0.19,-0.3,0.47,1.8)])
P(nfet_16_1, pplus, [(-1.45,-1.53),(-1.45,1.94),(-0.73,1.94),(-0.73,-0.81),(1.39,-0.81),(1.39,1.94),(-1.45,1.94),(-1.45,2.66),(2.11,2.66),(2.11,-1.53)])
R(nfet_16_1, nplus, [(-0.59,-0.24,1.25,1.74)])
A(nfet_16_1, contact, -0.29, -1.28, 0.22, 0.22, 3, 2, 0.51, 3.47)
A(nfet_16_1, contact, -1.2, -0.565, 0.22, 0.22, 1, 5, 0, 0.51)
A(nfet_16_1, contact, 1.64, -0.565, 0.22, 0.22, 1, 5, 0, 0.51)
R(nfet_16_1, contact, [(0.22,-0.59,0.44,-0.37), (-0.32,0.385,-0.1,0.605), (0.76,0.385,0.98,0.605), (-0.32,0.895,-0.1,1.115), (0.76,0.895,0.98,1.115)])
R(nfet_16_1, metal1, [(0.14,-0.67,0.52,-0.29), (-0.4,0.305,-0.02,1.195), (0.68,0.305,1.06,1.195)])

via_dev_24_1 = lib.new_cell('via_dev$24$1')
R(via_dev_24_1, metal1, [(0,0,0.4,0.4)])
R(via_dev_24_1, via1, [(0.07,0.07,0.33,0.33)])
R(via_dev_24_1, metal2, [(0,0,0.4,0.4)])
R(via_dev_24_1, via2, [(0.07,0.07,0.33,0.33)])
R(via_dev_24_1, metal3, [(0,0,0.4,0.4)])

phaseupulse = lib.new_cell('phaseUpulse')
R(phaseupulse, nwell, [(-8.625,15.685,20.015,16.485)])
R(phaseupulse, metal1, [(8.14,-5.31,8.48,-2.46), (15.7,-5.31,15.92,-2.46), (-0.255,9.125,0.125,9.795), (12.075,9.125,12.455,9.795), (-2.435,10.175,1.005,10.445), (9.895,10.175,13.335,10.445), (-3.255,16.485,-2.845,17.485), (-8.625,21.325,20.01,21.725)])
P(phaseupulse, metal1, [(10.39,-4.62),(10.39,-4.24),(10.66,-4.24),(10.66,-3.89),(11.04,-3.89),(11.04,-4.62)],
  [(14.17,-4.62),(14.17,-4.24),(14.44,-4.24),(14.44,-3.89),(14.82,-3.89),(14.82,-4.62)],
  [(8.48,-5.31),(8.48,-2.84),(8.86,-2.84),(8.86,-4.93),(11.54,-4.93),(11.54,-2.84),(12.64,-2.84),(12.64,-4.93),(15.32,-4.93),(15.32,-2.84),(8.48,-2.84),(8.48,-2.46),(15.7,-2.46),(15.7,-5.31)],
  [(8.14,-9.945),(8.14,-5.97),(8.8,-5.97),(8.8,-9.06),(11.26,-9.06),(11.26,-5.97),(12.36,-5.97),(12.36,-7.92),(15.54,-7.92),(15.54,-5.97),(8.14,-5.97),(8.14,-5.31),(15.92,-5.31),(15.92,-9.945)],
  [(9.3,-8.75),(9.3,-7.775),(9.68,-7.775),(9.68,-8.37),(9.84,-8.37),(9.84,-8.75)],
  [(9.3,-8.75),(9.3,-5.97),(9.68,-5.97),(9.68,-8.37),(9.84,-8.37),(9.84,-8.75)],
  [(12.86,-7.61),(12.86,-6.95),(13.24,-6.95),(13.24,-7.23),(13.76,-7.23),(13.76,-7.61)],
  [(12.86,-7.61),(12.86,-6.95),(13.24,-6.95),(13.24,-7.23),(13.76,-7.23),(13.76,-7.61)],
  [(-2.435,7.325),(-2.435,9.795),(-2.055,9.795),(-2.055,7.705),(0.625,7.705),(0.625,9.795),(-2.435,9.795),(-2.435,10.175),(1.005,10.175),(1.005,7.325)],
  [(9.895,7.325),(9.895,9.795),(10.275,9.795),(10.275,7.705),(12.955,7.705),(12.955,9.795),(9.895,9.795),(9.895,10.175),(13.335,10.175),(13.335,7.325)])
R(phaseupulse, metal2, [(19.615,-8.68,29.12,-8.28), (2.77,-7.89,10.77,-7.49), (10.37,-7.62,13.75,-7.22), (2.77,-7.49,3.17,-7.21), (6.73,-7.21,8.15,-6.81), (7.75,-7.21,8.15,-4.62), (7.75,-4.62,11.05,-4.22), (10.65,-4.62,11.05,-3.5), (6.66,-3.9,9.35,-3.5), (11.05,-3.9,13.13,-3.5), (14.43,-3.5,14.83,6.38), (22.605,1.36,27.66,1.76), (14.43,6.38,27.66,6.78), (-0.515,8.005,11.415,8.405), (11.815,8.005,28.125,8.405), (27.97,8.005,28.35,11.1), (-11.18,12.415,-7.69,12.825), (0.43,12.425,4.64,12.835), (6.38,12.425,16.97,12.865), (0.43,12.615,0.83,14.695), (-9.57,13.305,-9.17,15.4), (-3.295,13.305,-0.565,13.705), (2.76,13.305,3.16,15.4), (9.035,13.305,11.765,13.705), (12.445,13.305,15.51,13.705), (17.965,13.305,20.335,13.705), (12.445,13.31,12.795,14.695), (-3.295,13.705,-2.895,15.4), (9.035,13.705,9.435,15.4), (12.445,13.705,12.845,19.745), (-3.33,14.295,-2.97,14.695), (9,14.295,9.36,14.695), (17.655,14.295,17.97,19.745), (0.43,14.305,0.83,14.695), (0.43,14.695,0.83,19.745), (-9.17,15,-3.26,15.4), (3.16,15,9.07,15.4), (0.83,19.345,2.69,19.745), (11.49,19.345,12.445,19.745)])
R(phaseupulse, metal3, [(19.615,-8.68,20.015,19.3), (-0.565,-6.96,14.65,-6.56), (-0.565,-6.56,-0.165,13.305), (6.66,-0.64,16.575,-0.24), (16.175,-0.64,16.575,17.475), (22.605,1.76,23.005,20.325), (4.635,12.385,6.22,12.865), (-4.055,17.475,14.985,17.875), (-7.05,18.9,20.015,19.3), (-7.05,19.3,-6.65,20.325), (10.11,20.325,23.005,20.725)])
R(phaseupulse, metal4, [(-2.61,8.735,-1.565,9.135), (9.72,8.735,10.765,9.135), (-2.61,8.74,-1.565,9.135), (9.72,8.74,10.765,9.135), (-4.325,10.245,-3.925,13.335), (8.005,10.245,8.405,13.335)])
R(phaseupulse, metal5, [(-7.59,9.645,-7.11,11.845), (4.74,9.645,5.22,11.845)])
phaseupulse.add(gdstk.Reference(nor, (11.29,10.4)))
phaseupulse.add(gdstk.Reference(ota_1stage, (13.49,-8.91)))
phaseupulse.add(gdstk.Reference(conmutator, (16.53,4.61)))
phaseupulse.add(gdstk.Reference(switch, (27.63,-7.04)))
phaseupulse.add(gdstk.Reference(via_dev_9_1, (-14.495,10.16)))
phaseupulse.add(gdstk.Reference(not_, (8.395,14.785), rotation=pi, x_reflection=True))
phaseupulse.add(gdstk.Reference(not_, (12.155,14.785), rotation=pi, x_reflection=True))
phaseupulse.add(gdstk.Reference(nor_2, (16.965,14.785), rotation=pi, x_reflection=True))
phaseupulse.add(gdstk.Reference(via_dev_14, (11.415,8.005)))
phaseupulse.add(gdstk.Reference(via_dev_12_1, (10.765,8.735)))
phaseupulse.add(gdstk.Reference(via_dev_13_1, (8.005,13.305)))
phaseupulse.add(gdstk.Reference(via_dev_11_1, (4.78,11.445)))
phaseupulse.add(gdstk.Reference(via_dev_9_1, (8.39,8.91)))
phaseupulse.add(gdstk.Reference(nfet_8_1_1, (11.175,8.685)))
phaseupulse.add(gdstk.Reference(nand_4, (4.635,14.785), rotation=pi, x_reflection=True))
phaseupulse.add(gdstk.Reference(via_dev_19_1_1, (4.24,12.385)))
phaseupulse.add(gdstk.Reference(via_dev_19_1_1, (6.04,12.385)))
phaseupulse.add(gdstk.Reference(not_1, (20.725,14.785), rotation=pi, x_reflection=True))
phaseupulse.add(gdstk.Reference(conmutator_1, (-1.86,17.385), x_reflection=True))
phaseupulse.add(gdstk.Reference(switch_1, (17.58,17.385), x_reflection=True))
phaseupulse.add(gdstk.Reference(switch_1, (11.1,17.385), x_reflection=True))
phaseupulse.add(gdstk.Reference(switch_1, (4.62,17.385), x_reflection=True))
phaseupulse.add(gdstk.Reference(via_dev_22_1, (-4.455,17.475)))
phaseupulse.add(gdstk.Reference(via_dev_22_1, (2.025,17.475)))
phaseupulse.add(gdstk.Reference(via_dev_22_1, (8.505,17.475)))
phaseupulse.add(gdstk.Reference(via_dev_22_1, (14.985,17.475)))
phaseupulse.add(gdstk.Reference(nand_4, (-7.695,14.785), rotation=pi, x_reflection=True))
phaseupulse.add(gdstk.Reference(not_, (-0.175,14.785), rotation=pi, x_reflection=True))
phaseupulse.add(gdstk.Reference(not_, (-3.935,14.785), rotation=pi, x_reflection=True))
phaseupulse.add(gdstk.Reference(via_dev_14, (-0.915,8.005)))
phaseupulse.add(gdstk.Reference(via_dev_12_1, (-1.565,8.735)))
phaseupulse.add(gdstk.Reference(via_dev_13_1, (-4.325,13.305)))
phaseupulse.add(gdstk.Reference(via_dev_11_1, (-7.55,11.445)))
phaseupulse.add(gdstk.Reference(via_dev_9_1, (-3.94,8.91)))
phaseupulse.add(gdstk.Reference(nfet_8_1_1, (-1.155,8.685)))
phaseupulse.add(gdstk.Reference(nfet_15_1, (13.26,-6.94)))
phaseupulse.add(gdstk.Reference(nfet_8_1_1, (13.54,-3.95)))
phaseupulse.add(gdstk.Reference(nfet_16_1, (9.7,-8.08)))
phaseupulse.add(gdstk.Reference(nfet_8_1_1, (10.64,-3.95), rotation=pi, x_reflection=True))
phaseupulse.add(gdstk.Reference(via_dev_14, (13.13,-3.9)))
phaseupulse.add(gdstk.Reference(via_dev_14, (10.65,-3.9)))
phaseupulse.add(gdstk.Reference(via_dev_14, (9.35,-3.9)))
phaseupulse.add(gdstk.Reference(via_dev_14, (10.37,-7.785)))
phaseupulse.add(gdstk.Reference(via_dev_14, (13.75,-7.62)))
phaseupulse.add(gdstk.Reference(via_dev_14, (14.43,-3.9)))
phaseupulse.add(gdstk.Reference(via_dev_24_1, (14.65,-6.96)))
phaseupulse.add(gdstk.Reference(via_dev_22_1, (-0.565,13.305)))
phaseupulse.add(gdstk.Reference(via_dev_24_1, (16.175,17.475)))
phaseupulse.add(gdstk.Reference(via_dev_24_1, (6.26,-0.64)))
phaseupulse.add(gdstk.Reference(via_dev_24_1, (9.71,20.325)))
phaseupulse.add(gdstk.Reference(via_dev_22_1, (22.605,1.36)))
phaseupulse.add(gdstk.Reference(via_dev_22_1, (-7.05,20.325)))
phaseupulse.add(gdstk.Reference(via_dev_22_1, (19.615,-8.68)))
phaseupulse.add(gdstk.Label('phi_1', (1.205,12.645), layer=36, texttype=0))
phaseupulse.add(gdstk.Label('vspike', (-4.285,17.645), layer=42, texttype=10))
phaseupulse.add(gdstk.Label('vspike', (0.26,17.635), layer=42, texttype=10))
phaseupulse.add(gdstk.Label('reward', (-2.57,19.51), layer=36, texttype=10))
phaseupulse.add(gdstk.Label('phi_int', (18.7,13.465), layer=36, texttype=10))
phaseupulse.add(gdstk.Label('phi_2', (13.77,13.435), layer=36, texttype=10))
phaseupulse.add(gdstk.Label('phi_1', (1.825,12.615), layer=36, texttype=10))
phaseupulse.add(gdstk.Label('vspike_up', (-6.915,20.585), layer=36, texttype=10))
phaseupulse.add(gdstk.Label('vneg', (-1.87,13.53), layer=36, texttype=10))
phaseupulse.add(gdstk.Label('vin', (-10.885,12.525), layer=36, texttype=10))

lib.write_gds('phaseUpulse.gds')
